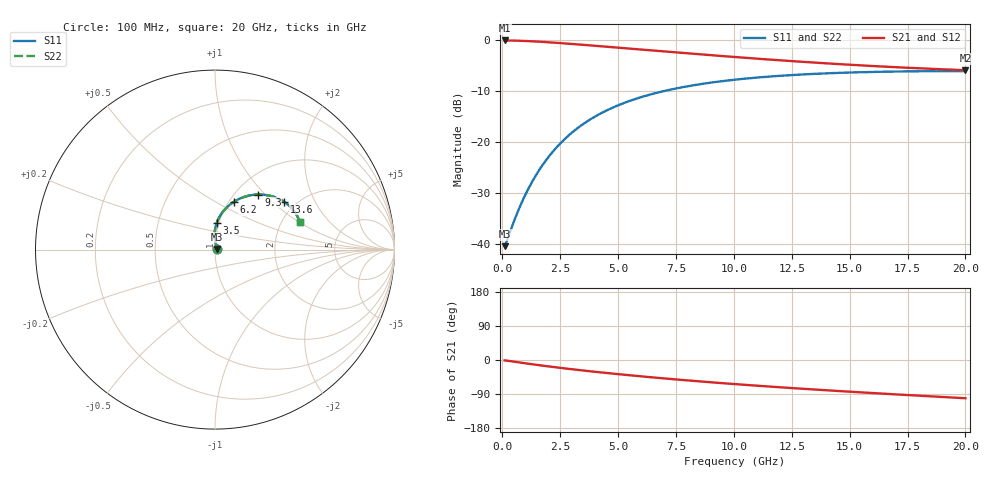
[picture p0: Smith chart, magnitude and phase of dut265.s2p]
! Touchstone file exported from HFSS 2024.1.0
!  File:  C:/UserFiles/LocalFiles/RDL_TSV_Batchsim/temp_RDL_TSV_265_1779460264.aedt
!  Generated:  10:52:07 PM May 22, 2026
!  Design:  RDL_TSV
!  Project:  temp_RDL_TSV_265_1779460264
!  Setup:  Setup1
!  Solution:  Sweep
! Variables:
!  dtsv = 5.28um
!  hbump = 3um
!  htsv = 67.93um
!  ldown = 193.13um
!  lrdl = 146.04um
!  p = 40
!  p1 = 58.72um
!  rhole = 10um
!  subl = 1163.55um
!  t = 450um
!  tdown = 3.82um
!  trdl = 3.86um
!  viad = 10um
!  wdown = 12.02um
!  wrdl = 20.25um
!  xbump = 18um
# GHz S MA R 50.000000
! Terminal data exported
! Port[1] = TM1_1_T1
! Port[2] = TM1_4_T1
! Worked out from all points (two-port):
!   200 points, 100 MHz to 20 GHz, reference 50 ohm
!   highest |S21| = -0.08 dB at 100 MHz (marker M1); lowest = -5.9 dB at 20 GHz (marker M2)
!   |S21| within 3 dB of the highest: start of sweep to 9.341 GHz
!   lowest |S11| = -40.4 dB at 100 MHz (marker M3), VSWR 1.02, Z = 50.9 + j0.303 ohm
!   |S11| at or under -10 dB: start of sweep to 6.978 GHz
!   |S22| runs from -40.4 to -6.1 dB; largest |S21 - S12| = 2.3e-14
!   S11 on the Smith chart (normalised r, x): 100 MHz: 1.02, +0.01; 3.5 GHz: 0.97, +0.30; 6.2 GHz: 1.05, +0.61; 9.3 GHz: 1.27, +0.92; 13.6 GHz: 1.73, +1.18; 20 GHz: 2.49, +1.01
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0.1  0.009576 18.1  0.9907 -0.9  0.9907 -0.9  0.009576 18.1
! Gamma 0 0 0 0
! Port Impedance 50 0 50 0
0.2  0.01083 32.9  0.9902 -1.8  0.9902 -1.8  0.01083 32.9
0.6  0.01911 65.7  0.9861 -5.3  0.9861 -5.3  0.01911 65.7
0.9  0.02751 77.6  0.981 -7.9  0.981 -7.9  0.02751 77.6
1.2  0.03763 84.6  0.9744 -10.5  0.9744 -10.5  0.03763 84.6
1.6  0.05356 89.5  0.9636 -13.8  0.9636 -13.8  0.05355 89.5
2  0.07179 91.2  0.9511 -16.9  0.9511 -16.9  0.07178 91.2
2.5  0.09691 90.8  0.934 -20.7  0.934 -20.7  0.09689 90.8
3  0.1235 88.9  0.9159 -24.3  0.9159 -24.3  0.1235 88.9
3.5  0.1507 86.2  0.8974 -27.8  0.8974 -27.8  0.1507 86.2
4.1  0.183 82.4  0.8753 -31.7  0.8753 -31.7  0.183 82.4
4.7  0.2143 78.4  0.8533 -35.5  0.8533 -35.5  0.2142 78.4
5.4  0.2486 73.8  0.8282 -39.7  0.8282 -39.7  0.2486 73.8
6.2  0.2847 68.7  0.8003 -44.3  0.8003 -44.3  0.2846 68.7
6.8  0.3093 65.0  0.7801 -47.6  0.7801 -47.6  0.3093 65.0
8  0.3525 58.3  0.7414 -53.9  0.7414 -53.9  0.3524 58.3
9.3  0.3907 51.8  0.7025 -60.2  0.7025 -60.2  0.3907 51.8
10.1  0.4103 48.1  0.6803 -63.9  0.6803 -63.9  0.4103 48.1
13.4  0.4655 35.5  0.6028 -77.6  0.6028 -77.6  0.4655 35.5
13.6  0.4677 34.8  0.5988 -78.4  0.5988 -78.4  0.4677 34.8
16.7  0.4906 25.8  0.5461 -89.7  0.5461 -89.7  0.4906 25.8
20  0.4957 18.1  0.5066 -100.9  0.5066 -100.9  0.4957 18.1
